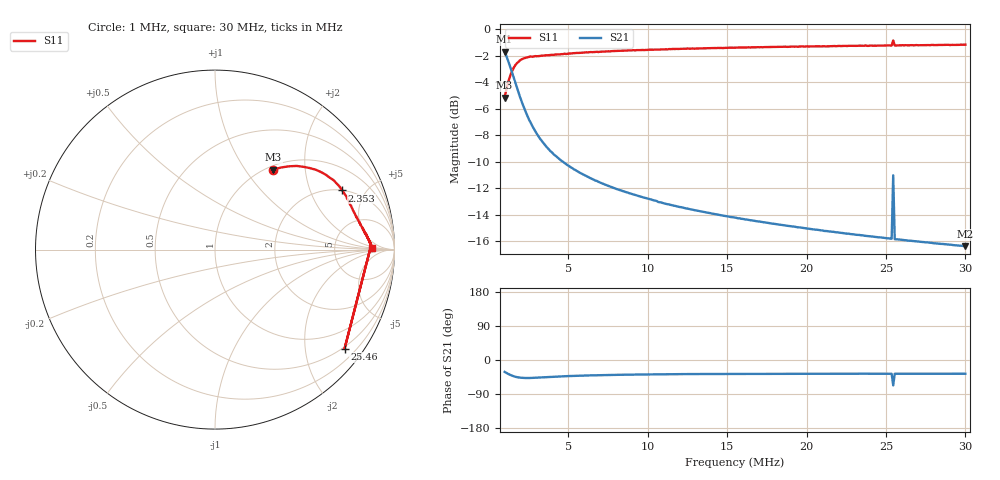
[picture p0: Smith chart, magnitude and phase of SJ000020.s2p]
!File created by NanoVNA-F V2
# Hz S RI R 50
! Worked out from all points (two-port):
!   301 points, 1 MHz to 30 MHz, reference 50 ohm
!   highest |S21| = -1.67 dB at 1 MHz (marker M1); lowest = -16.4 dB at 30 MHz (marker M2)
!   |S21| within 3 dB of the highest: start of sweep to 1.851 MHz
!   lowest |S11| = -5.2 dB at 1 MHz (marker M3), VSWR 3.46, Z = 53.1 + j68.2 ohm
!   |S11| at or under -10 dB: nowhere
!   S12 and S22 are empty: the file has one direction only
!   S11 on the Smith chart (normalised r, x): 1 MHz: 1.06, +1.36; 2.353 MHz: 2.01, +3.41; 25.46 MHz: 0.46, -2.89; 30 MHz: 15, +1
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1000000  0.3252 0.446  0.7049 -0.4295  0 0  0 0
1096666  0.3693 0.4577  0.6637 -0.4444  0 0  0 0
1289998  0.4552 0.4661  0.5829 -0.457  0 0  0 0
1483330  0.5311 0.4535  0.5113 -0.4536  0 0  0 0
1676662  0.5935 0.4305  0.4496 -0.4388  0 0  0 0
1966660  0.659 0.388  0.3825 -0.4037  0 0  0 0
2159992  0.688 0.3578  0.3512 -0.3793  0 0  0 0
2353324  0.7091 0.3296  0.3265 -0.3569  0 0  0 0
2643322  0.7328 0.2969  0.3004 -0.3266  0 0  0 0
3029986  0.7477 0.2609  0.2763 -0.293  0 0  0 0
3899980  0.7717 0.2133  0.2465 -0.2424  0 0  0 0
4866640  0.7872 0.18  0.2279 -0.2095  0 0  0 0
5833300  0.8016 0.1569  0.2145 -0.1882  0 0  0 0
8056618  0.8199 0.1226  0.1932 -0.1573  0 0  0 0
1.06666e7  0.8339 0.0962  0.1763 -0.1359  0 0  0 0
1.54999e7  0.8508 0.0663  0.1561 -0.1159  0 0  0 0
2.03332e7  0.8617 0.043  0.1415 -0.1041  0 0  0 0
2.51665e7  0.8699 0.025  0.1308 -0.0961  0 0  0 0
2.535983e7  0.8696 0.023  0.1303 -0.0958  0 0  0 0
2.54565e7  0.7217 -0.5523  0.1098 -0.2585  0 0  0 0
2.555316e7  0.8698 0.0222  0.1297 -0.0953  0 0  0 0
2.99998e7  0.8761 0.00834  0.1222 -0.0896  0 0  0 0
